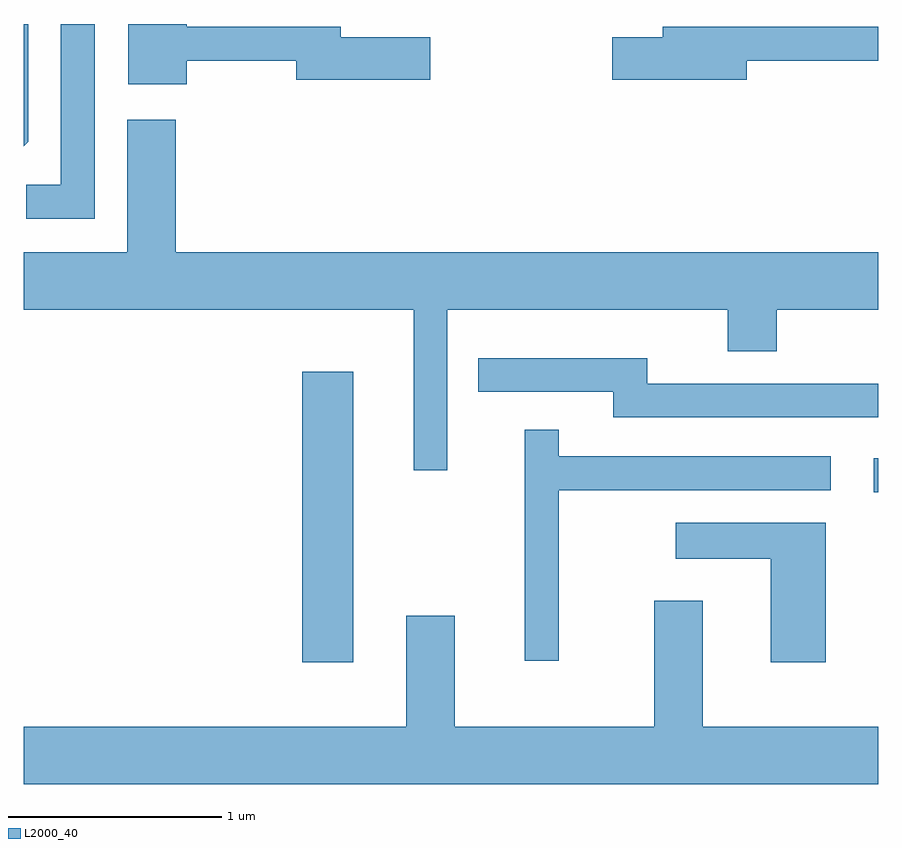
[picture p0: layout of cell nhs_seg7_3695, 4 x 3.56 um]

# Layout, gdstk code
import gdstk
lib = gdstk.Library(unit=1e-6, precision=1e-09)
def R(c, l, rs):  # rectangles x0, y0, x1, y1
    for r in rs: c.add(gdstk.rectangle(r[:2], r[2:], *l))
def P(c, l, *ps):  # polygons
    for p in ps: c.add(gdstk.Polygon(p, *l))
L2000_40 = (2000, 40)

nhs_seg7_3695 = lib.new_cell('nhs_seg7_3695')
R(nhs_seg7_3695, L2000_40, [(298.916,1779.266,299.154,1780.624), (301.588,1780.061,301.611,1780.219)])
P(nhs_seg7_3695, L2000_40, [(298.374,1782.081),(298.886,1782.081),(298.886,1781.991),(299.514,1781.991),(299.514,1782.189),(299.094,1782.189),(299.094,1782.239),(298.374,1782.239),(298.374,1782.252),(298.101,1782.252),(298.101,1781.971),(298.374,1781.971)],
  [(297.634,1781.702),(297.634,1782.252),(297.611,1782.252),(297.611,1781.679)],
  [(297.944,1782.252),(297.786,1782.252),(297.786,1781.499),(297.623,1781.499),(297.623,1781.341),(297.944,1781.341)],
  [(300.994,1782.081),(301.611,1782.081),(301.611,1782.239),(300.601,1782.239),(300.601,1782.189),(300.366,1782.189),(300.366,1781.991),(300.994,1781.991)],
  [(299.594,1780.916),(300.906,1780.916),(300.906,1780.721),(301.134,1780.721),(301.134,1780.916),(301.611,1780.916),(301.611,1781.184),(298.324,1781.184),(298.324,1781.804),(298.096,1781.804),(298.096,1781.184),(297.611,1781.184),(297.611,1780.916),(299.436,1780.916),(299.436,1780.163),(299.594,1780.163)],
  [(301.611,1780.569),(300.529,1780.569),(300.529,1780.689),(299.738,1780.689),(299.738,1780.531),(300.371,1780.531),(300.371,1780.411),(301.611,1780.411)],
  [(300.114,1780.071),(301.388,1780.071),(301.388,1780.229),(300.114,1780.229),(300.114,1780.353),(299.956,1780.353),(299.956,1779.273),(300.114,1779.273)],
  [(301.364,1779.919),(300.663,1779.919),(300.663,1779.751),(301.106,1779.751),(301.106,1779.266),(301.364,1779.266)],
  [(301.611,1778.964),(300.789,1778.964),(300.789,1779.554),(300.561,1779.554),(300.561,1778.964),(299.629,1778.964),(299.629,1779.484),(299.401,1779.484),(299.401,1778.964),(297.611,1778.964),(297.611,1778.696),(301.611,1778.696)])

lib.write_gds('nhs_seg7_3695.gds')
